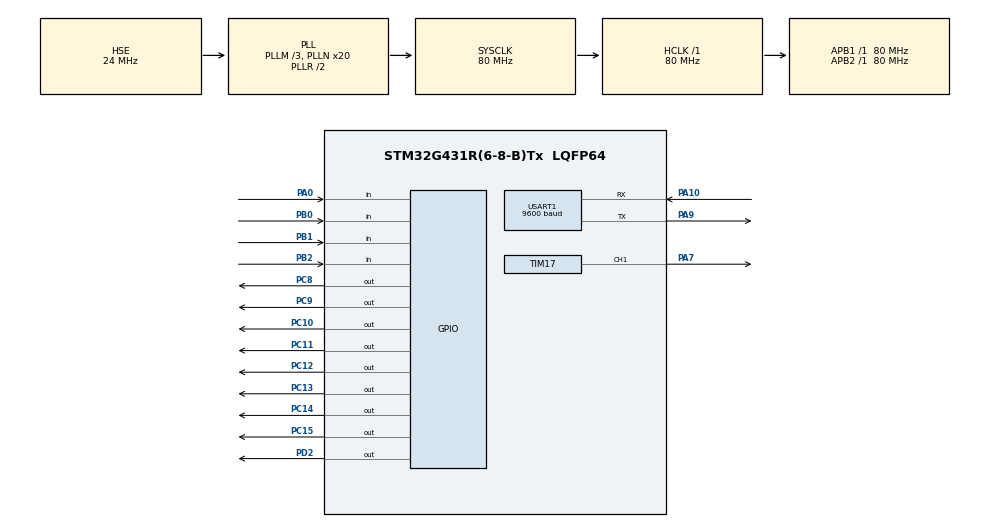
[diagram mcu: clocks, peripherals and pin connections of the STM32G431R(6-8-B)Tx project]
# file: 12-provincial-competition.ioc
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Mcu.Family=STM32G4
Mcu.Name=STM32G431R(6-8-B)Tx
Mcu.Package=LQFP64
NVIC.PriorityGroup=NVIC_PRIORITYGROUP_4
NVIC.USART1_IRQn=true\:0\:0\:false\:false\:true\:true\:true\:true
PA0.GPIO_PuPd=GPIO_PULLUP
PA0.Signal=GPIO_Input
PA10.Mode=Asynchronous
PA10.Signal=USART1_RX
PA13.Mode=Serial_Wire
PA13.Signal=SYS_JTMS-SWDIO
PA14.Mode=Serial_Wire
PA14.Signal=SYS_JTCK-SWCLK
PA7.Signal=S_TIM17_CH1
PA9.Mode=Asynchronous
PA9.Signal=USART1_TX
PB0.GPIO_PuPd=GPIO_PULLUP
PB0.Signal=GPIO_Input
PB1.GPIO_PuPd=GPIO_PULLUP
PB1.Signal=GPIO_Input
PB2.GPIO_PuPd=GPIO_PULLUP
PB2.Signal=GPIO_Input
PC10.PinState=GPIO_PIN_SET
PC10.Signal=GPIO_Output
PC11.PinState=GPIO_PIN_SET
PC11.Signal=GPIO_Output
PC12.PinState=GPIO_PIN_SET
PC12.Signal=GPIO_Output
PC13.PinState=GPIO_PIN_SET
PC13.Signal=GPIO_Output
PC14-OSC32_IN.PinState=GPIO_PIN_SET
PC14-OSC32_IN.Signal=GPIO_Output
PC15-OSC32_OUT.PinState=GPIO_PIN_SET
PC15-OSC32_OUT.Signal=GPIO_Output
PC8.PinState=GPIO_PIN_SET
PC8.Signal=GPIO_Output
PC9.PinState=GPIO_PIN_SET
PC9.Signal=GPIO_Output
PD2.Signal=GPIO_Output
PF0-OSC_IN.Mode=HSE-External-Oscillator
PF0-OSC_IN.Signal=RCC_OSC_IN
PF1-OSC_OUT.Mode=HSE-External-Oscillator
PF1-OSC_OUT.Signal=RCC_OSC_OUT
ProjectManager.HeapSize=0x200
ProjectManager.StackSize=0x400
ProjectManager.TargetToolchain=MDK-ARM V5.32
RCC.ADC12Freq_Value=80000000
RCC.AHBFreq_Value=80000000
RCC.APB1Freq_Value=80000000
RCC.APB1TimFreq_Value=80000000
RCC.APB2Freq_Value=80000000
RCC.APB2TimFreq_Value=80000000
RCC.CortexFreq_Value=80000000
RCC.EXTERNAL_CLOCK_VALUE=12288000
RCC.HCLKFreq_Value=80000000
RCC.HSE_VALUE=24000000
RCC.HSI48_VALUE=48000000
RCC.HSI_VALUE=16000000
RCC.LSE_VALUE=32768
RCC.PLLM=RCC_PLLM_DIV3
RCC.PLLN=20
RCC.PLLSourceVirtual=RCC_PLLSOURCE_HSE
RCC.SYSCLKFreq_VALUE=80000000
RCC.SYSCLKSource=RCC_SYSCLKSOURCE_PLLCLK
RCC.USBFreq_Value=80000000
RCC.VCOOutputFreq_Value=160000000
SH.S_TIM17_CH1.0=TIM17_CH1,PWM Generation1 CH1
TIM17.Channel=TIM_CHANNEL_1
TIM17.PeriodNoDither=100-1
TIM17.Prescaler=400-1
TIM3.Prescaler=8000-1
USART1.BaudRate=9600
USART1.VirtualMode-Asynchronous=VM_ASYNC
VP_SYS_VS_DBSignals.Mode=DisableDeadBatterySignals
VP_TIM17_VS_ClockSourceINT.Mode=Enable_Timer
VP_TIM3_VS_ClockSourceINT.Mode=Internal
board=custom

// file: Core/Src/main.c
/* USER CODE BEGIN Header */
/**
  ******************************************************************************
  * @file           : main.c
  * @brief          : Main program body
  ******************************************************************************
  * @attention
  *
  * Copyright (c) 2025 STMicroelectronics.
  * All rights reserved.
  *
  * This software is licensed under terms that can be found in the LICENSE file
  * in the root directory of this software component.
  * If no LICENSE file comes with this software, it is provided AS-IS.
  *
  ******************************************************************************
  */
/* USER CODE END Header */
#include "main.h"
#include "tim.h"
#include "usart.h"
#include "gpio.h"

/* USER CODE BEGIN Includes */
#include "stdio.h"
#include "stdint.h"
#include "math.h"
#include "string.h"
#include "lcd.h"
/* USER CODE END Includes */

/* USER CODE BEGIN PV */
char text[20];
uint8_t cnbr_cnt, vnbr_cnt, idle_cnt=8, idx=0;  // cnbr类车数量，vnbr类车数量， 空闲车位, 结构体的索引
char car_type[5]; char car_id[5];
int year, month, day, hour, minute, second, park_time;
double cnbr_pay=3.5, vnbr_pay=2.0, pay=0.00;  // 两类车的停车费
uint8_t setting=0, tim17_flag=0;  // 标志是否进入设置页面, PA7输出PWM的标志
uint8_t key_val, key_up, key_down, key_last_val;
char send_buff[255], rec_buff[255];
uint8_t rec_data, send_data, count=0, rec_flag=0;
struct car{
    char type[5];
    char id[5];
    int year;
    int month;
    int day;
    int h;
    int m;
    int s;
}car[8];
// 每月天数表（非闰年）
const int days_per_month[] = {31,28,31,30,31,30,31,31,30,31,30,31};
/* USER CODE END PV */

void SystemClock_Config(void);
/* USER CODE BEGIN PFP */
void LCD_Proc(void);
void KEY_Proc(void);
uint8_t KEY_Scan(void);
void LED_Proc(void);
void USART_Proc(void);
int findcar(char* type, char* id, int n);  // 确定该车是否已经进入车库
/* USER CODE END PFP */

int main(void)
{

  /* MCU Configuration--------------------------------------------------------*/

  /* Reset of all peripherals, Initializes the Flash interface and the Systick. */
  HAL_Init();

  /* Configure the system clock */
  SystemClock_Config();

  /* Initialize all configured peripherals */
  MX_GPIO_Init();
  MX_TIM17_Init();
  MX_USART1_UART_Init();
  MX_TIM3_Init();
  /* USER CODE BEGIN 2 */
    // LCD
    LCD_Init();
    LCD_Clear(Black);
    LCD_SetBackColor(Black);
    LCD_SetTextColor(White);
    // TIM
    TIM17->CCR1=20;
    HAL_GPIO_WritePin(GPIOA, GPIO_PIN_7, GPIO_PIN_RESET);
    HAL_TIM_Base_Start(&htim3);
    // USART1
    HAL_UART_Receive_IT(&huart1, &rec_data, 1);
  /* USER CODE END 2 */

  /* Infinite loop */
  /* USER CODE BEGIN WHILE */
  while (1)
  {
      LCD_Proc();
      KEY_Proc();
      USART_Proc();
      LED_Proc();
    /* USER CODE END WHILE */

  }
}

void SystemClock_Config(void)
{
  RCC_OscInitTypeDef RCC_OscInitStruct = {0};
  RCC_ClkInitTypeDef RCC_ClkInitStruct = {0};

  /** Configure the main internal regulator output voltage
  */
  HAL_PWREx_ControlVoltageScaling(PWR_REGULATOR_VOLTAGE_SCALE1);

  /** Initializes the RCC Oscillators according to the specified parameters
  * in the RCC_OscInitTypeDef structure.
  */
  RCC_OscInitStruct.OscillatorType = RCC_OSCILLATORTYPE_HSE;
  RCC_OscInitStruct.HSEState = RCC_HSE_ON;
  RCC_OscInitStruct.PLL.PLLState = RCC_PLL_ON;
  RCC_OscInitStruct.PLL.PLLSource = RCC_PLLSOURCE_HSE;
  RCC_OscInitStruct.PLL.PLLM = RCC_PLLM_DIV3;
  RCC_OscInitStruct.PLL.PLLN = 20;
  RCC_OscInitStruct.PLL.PLLP = RCC_PLLP_DIV2;
  RCC_OscInitStruct.PLL.PLLQ = RCC_PLLQ_DIV2;
  RCC_OscInitStruct.PLL.PLLR = RCC_PLLR_DIV2;
  if (HAL_RCC_OscConfig(&RCC_OscInitStruct) != HAL_OK)
  {
    Error_Handler();
  }

  /** Initializes the CPU, AHB and APB buses clocks
  */
  RCC_ClkInitStruct.ClockType = RCC_CLOCKTYPE_HCLK|RCC_CLOCKTYPE_SYSCLK
                              |RCC_CLOCKTYPE_PCLK1|RCC_CLOCKTYPE_PCLK2;
  RCC_ClkInitStruct.SYSCLKSource = RCC_SYSCLKSOURCE_PLLCLK;
  RCC_ClkInitStruct.AHBCLKDivider = RCC_SYSCLK_DIV1;
  RCC_ClkInitStruct.APB1CLKDivider = RCC_HCLK_DIV1;
  RCC_ClkInitStruct.APB2CLKDivider = RCC_HCLK_DIV1;

  if (HAL_RCC_ClockConfig(&RCC_ClkInitStruct, FLASH_LATENCY_2) != HAL_OK)
  {
    Error_Handler();
  }
}

/* USER CODE BEGIN 4 */
void LCD_Proc(void){
    if(setting==0){
        sprintf(text, "       Data         ");
        LCD_DisplayStringLine(Line1, (uint8_t*)text);
        sprintf(text, "   CNBR:%01d           ", cnbr_cnt);
        LCD_DisplayStringLine(Line3, (uint8_t*)text);
        sprintf(text, "   VNBR:%01d           ", vnbr_cnt);
        LCD_DisplayStringLine(Line5, (uint8_t*)text);
        sprintf(text, "   IDLE:%01d           ", idle_cnt);
        LCD_DisplayStringLine(Line7, (uint8_t*)text);
    }else{
        sprintf(text, "       Para         ");
        LCD_DisplayStringLine(Line1, (uint8_t*)text);
        sprintf(text, "   CNBR:%.2f", cnbr_pay);
        LCD_DisplayStringLine(Line3, (uint8_t*)text);
        sprintf(text, "   VNBR:%.2f", vnbr_pay);
        LCD_DisplayStringLine(Line5, (uint8_t*)text);
    }

}
void KEY_Proc(void){
    key_val=KEY_Scan();
    key_down=key_val&(key_val^key_last_val);
    key_up=~key_val&(key_val^key_last_val);
    if(key_val==1 && key_last_val==0){
        setting ^= 1;
        LCD_Clear(Black);
    }
    if(setting == 1 && key_val==2 && key_last_val==0){
        cnbr_pay += 0.5;
        vnbr_pay += 0.5;
    }
    if(setting == 1 && key_val==3 && key_last_val==0){
        cnbr_pay -= 0.5;
        if(cnbr_pay<0) cnbr_pay=0;
        vnbr_pay -= 0.5;
        if(vnbr_pay<0) vnbr_pay=0;
    }
    if(key_val==4 && key_last_val==0){
        tim17_flag ^= 1;
        if(tim17_flag==0){
            HAL_TIM_PWM_Stop(&htim17, TIM_CHANNEL_1);
            HAL_GPIO_WritePin(GPIOA, GPIO_PIN_7, GPIO_PIN_RESET);
        }else{
            TIM17->CCR1=20;
            HAL_TIM_PWM_Start(&htim17, TIM_CHANNEL_1);
        }
    }
    key_last_val=key_val;
}
uint8_t KEY_Scan(void){
    uint8_t key_value=0;
    if(HAL_GPIO_ReadPin(GPIOB, GPIO_PIN_0)==GPIO_PIN_RESET){
        key_value=1;
    }
    if(HAL_GPIO_ReadPin(GPIOB, GPIO_PIN_1)==GPIO_PIN_RESET){
        key_value=2;
    }
    if(HAL_GPIO_ReadPin(GPIOB, GPIO_PIN_2)==GPIO_PIN_RESET){
        key_value=3;
    }
    if(HAL_GPIO_ReadPin(GPIOA, GPIO_PIN_0)==GPIO_PIN_RESET){
        key_value=4;
    }
    return key_value;
}
void LED_Show(uint8_t led, uint8_t mode){
    if(mode){
        HAL_GPIO_WritePin(GPIOC, led<<8, GPIO_PIN_RESET);
        HAL_GPIO_WritePin(GPIOD, GPIO_PIN_2, GPIO_PIN_SET);
        HAL_GPIO_WritePin(GPIOD, GPIO_PIN_2, GPIO_PIN_RESET);
    }else{
        HAL_GPIO_WritePin(GPIOC, led<<8, GPIO_PIN_SET);
        HAL_GPIO_WritePin(GPIOD, GPIO_PIN_2, GPIO_PIN_SET);
        HAL_GPIO_WritePin(GPIOD, GPIO_PIN_2, GPIO_PIN_RESET);
    }
}
void LED_Proc(void){
    idle_cnt>0? LED_Show(0x01, 1) : LED_Show(0x01, 0);
    tim17_flag==0? LED_Show(0x02, 0) : LED_Show(0x02, 1);
}
void HAL_UART_RxCpltCallback(UART_HandleTypeDef *huart){
    if(huart->Instance==USART1){
        TIM3->CNT=0;
        rec_flag=1;
        rec_buff[count]=rec_data;
		count++;
		HAL_UART_Receive_IT(huart, &rec_data, 1);
    }
}
// -1表示不在车库，-2表示存在同一辆ID的车类型不同
int findcar(char* type, char* id, int n){
    int flag=-1;
    for(int i = 0;i < n;i++){
        if(strcmp(car[i].type, type)==0 && strcmp(car[i].id, id)==0){
            flag=i;
        }else if(strcmp(car[i].id, id)==0 && strcmp(car[i].type, type)!=0){
            flag=-2;
        }
    }
    return flag;
}
// 辅助函数：判断闰年
int is_leap_year(int year) {
    return (year % 4 == 0 && year % 100 != 0) || (year % 400 == 0);
}
// 计算从公元元年到指定日期的总天数
unsigned long calculate_days(int year, int month, int day) {
    unsigned long days = day;
    for (int y = 1; y < year+2000; y++) {
        days += (365 + is_leap_year(y));
    }
    for (int m = 1; m < month; m++) {
        days += days_per_month[m-1];
        if (m == 2 && is_leap_year(year)) days += 1;
    }
    return days;
}
// 新增时间差计算函数
long int calculate_duration(int start_year, int start_month, int start_day, int start_h, int start_m, int start_s,
                                 int end_year, int end_month, int end_day, int end_h, int end_m, int end_s) {
    // 计算开始和结束时间的天数差
    unsigned long start_days = calculate_days(start_year, start_month, start_day);
    unsigned long end_days = calculate_days(end_year, end_month, end_day);
    unsigned long day_diff = 0;
    int ll = end_days - start_days;
    if(ll < 0){
        return -1;
    }else{
        day_diff = end_days - start_days;
    }
    if((end_h - start_h < 0) || (end_m - start_m < 0) || (end_s - start_s < 0)){
        return -1;
    }
    // 计算秒数差
    int time_diff_seconds = (end_h - start_h) * 3600 +
                          (end_m - start_m) * 60 +
                          (end_s - start_s);
    return (day_diff * 86400 + time_diff_seconds);
}
uint8_t checkCmd(char* str, uint8_t cnt){
    if(cnt!=22){
        return 0;
    }
    if((str[0] == 'C' || str[0] == 'V') && str[1] == 'N' && str[2] == 'B' && str[3] == 'R' && str[4] == ':' && str[9] == ':'){
		uint8_t i;
		for(i = 10; i < count; i++){
			if(str[i] > '9' || str[i] < '0')
				return 0;
		}
	}else{
        return 0;
    }
	return 1;
}
void USART_Proc(void){
    if(rec_flag){
        if(TIM3->CNT>15){
            if(checkCmd(rec_buff, count)==0){
                sprintf(send_buff, "Error\r\n");
                HAL_UART_Transmit(&huart1, (uint8_t*)send_buff, sizeof(send_buff), 50);
            }else{
                sscanf(rec_buff, "%4s:%4s:%2d%2d%2d%2d%2d%2d", car_type, car_id, &year, &month, &day, &hour, &minute, &second);
                if(year > 99 || month > 12 || day > days_per_month[month-1] || hour > 23 || minute > 59 || second > 59){
                    sprintf(send_buff, "Error\r\n");
                    HAL_UART_Transmit(&huart1, (uint8_t*)send_buff, sizeof(send_buff), 50);
                    goto restart;
                }
                int flag=findcar(car_type, car_id, cnbr_cnt+vnbr_cnt);
                if(flag==-1 && idx<8){
                    if(strcmp(car_type, "CNBR")==0){
                        cnbr_cnt++;
                        idle_cnt--;
                    }else if(strcmp(car_type, "VNBR")==0){
                        vnbr_cnt++;
                        idle_cnt--;
                    }
                    strcpy(car[idx].type,car_type);strcpy(car[idx].id,car_id);
                    car[idx].year=year;car[idx].month=month;car[idx].day=day;
                    car[idx].h=hour;car[idx].m=minute;car[idx].s=second;
                    idx++;
                }else if(flag != -1 && flag != -2){
                    long int time = calculate_duration(car[flag].year, car[flag].month, car[flag].day, car[flag].h, car[flag].m, car[flag].s,
                    year, month, day, hour, minute, second);
                    if(time==-1){
                        sprintf(send_buff, "Error\r\n");
                        HAL_UART_Transmit(&huart1, (uint8_t*)send_buff, sizeof(send_buff), 50);
                    }else{
                        park_time = ceil(1.0 * time / 3600);
                        if(strcmp(car_type, "CNBR")==0){
                            pay=park_time*cnbr_pay;
                            idle_cnt++;
                            cnbr_cnt--;
                        }else if(strcmp(car_type, "VNBR")==0){
                            pay=park_time*vnbr_pay;
                            idle_cnt++;
                            vnbr_cnt--;
                        }
                        sprintf(send_buff, "%4s:%4s:%d:%.2f\r\n", car[flag].type, car[flag].id, park_time, pay);
                        HAL_UART_Transmit(&huart1, (uint8_t*)send_buff, sizeof(send_buff), 50);
                        for(int i = flag; i < idx; i++) {
                            car[i] = car[i + 1]; // 直接通过结构体拷贝
                        }
                        idx--;
                    }
                }else if(flag == -2){
                    sprintf(send_buff, "Error\r\n");
                    HAL_UART_Transmit(&huart1, (uint8_t*)send_buff, sizeof(send_buff), 50);
                }
            }
            restart:
            rec_flag=0;
            memset(rec_buff, 0, sizeof(rec_buff));
            count=0;
            // 重新启动接收中断（防御性编程）
            HAL_UART_Receive_IT(&huart1, &rec_data, 1);
        }
    }
}
/* USER CODE END 4 */

void Error_Handler(void)
{
  __disable_irq();
  while (1)
  {
  }
}
